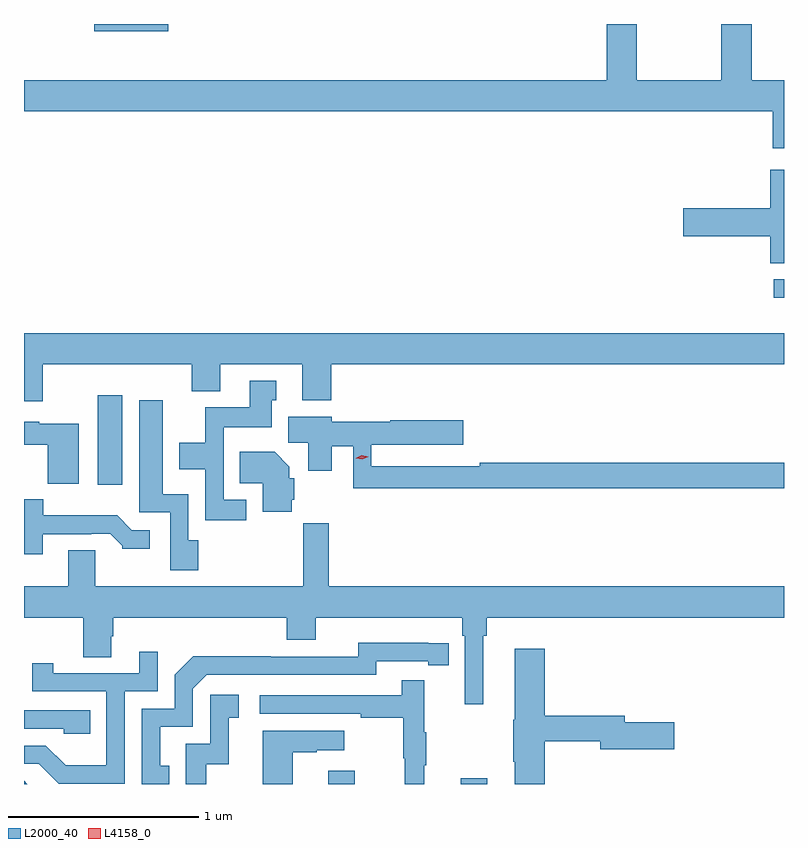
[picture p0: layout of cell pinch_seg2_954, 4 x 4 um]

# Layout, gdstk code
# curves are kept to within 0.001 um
import gdstk
lib = gdstk.Library(unit=1e-6, precision=1e-09)
def R(c, l, rs):  # rectangles x0, y0, x1, y1
    for r in rs: c.add(gdstk.rectangle(r[:2], r[2:], *l))
def P(c, l, *ps):  # polygons
    for p in ps: c.add(gdstk.Polygon(p, *l))
L2000_40 = (2000, 40)
L4158_0 = (4158, 0)

pinch_seg2_954 = lib.new_cell('pinch_seg2_954')
R(pinch_seg2_954, L2000_40, [(267.587,625.448,267.727,625.519), (268.283,625.448,268.423,625.477), (266.372,627.024,266.503,627.493), (269.931,628.008,269.985,628.104), (266.354,629.411,266.743,629.448)])
P(pinch_seg2_954, L2000_40, [(269.985,629.152),(269.816,629.152),(269.816,629.448),(269.656,629.448),(269.656,629.152),(269.211,629.152),(269.211,629.448),(269.051,629.448),(269.051,629.152),(265.985,629.152),(265.985,628.988),(269.927,628.988),(269.927,628.794),(269.985,628.794)],
  [(269.985,628.681),(269.912,628.681),(269.912,628.478),(269.454,628.478),(269.454,628.331),(269.912,628.331),(269.912,628.189),(269.985,628.189)],
  [(266.083,627.656),(266.867,627.656),(266.867,627.515),(267.019,627.515),(267.019,627.656),(267.449,627.656),(267.449,627.467),(267.602,627.467),(267.602,627.656),(269.985,627.656),(269.985,627.82),(265.985,627.82),(265.985,627.462),(266.083,627.462)],
  [(267.154,626.943),(267.036,626.943),(267.036,627.326),(267.289,627.326),(267.289,627.468),(267.313,627.468),(267.313,627.571),(267.173,627.571),(267.173,627.43),(266.938,627.43),(266.938,627.244),(266.801,627.244),(266.801,627.104),(266.94,627.104),(266.94,626.835),(267.154,626.835)],
  [(266.903,626.73),(266.85,626.73),(266.85,626.974),(266.716,626.974),(266.716,627.469),(266.591,627.469),(266.591,626.877),(266.754,626.877),(266.754,626.574),(266.903,626.574)],
  [(269.985,627.14),(268.384,627.14),(268.384,627.12),(267.813,627.12),(267.813,627.233),(268.297,627.233),(268.297,627.363),(267.912,627.363),(267.912,627.355),(267.604,627.355),(267.604,627.382),(267.377,627.382),(267.377,627.244),(267.482,627.244),(267.482,627.096),(267.604,627.096),(267.604,627.226),(267.717,627.226),(267.717,627.004),(269.985,627.004)],
  [(266.272,627.343),(266.064,627.343),(266.064,627.355),(265.985,627.355),(265.985,627.233),(266.11,627.233),(266.11,627.029),(266.272,627.029)],
  [(267.395,626.943),(267.408,626.943),(267.408,627.057),(267.382,627.057),(267.382,627.118),(267.304,627.196),(267.121,627.196),(267.121,627.032),(267.242,627.032),(267.242,626.882),(267.395,626.882)],
  [(266.083,626.763),(266.339,626.763),(266.339,626.766),(266.438,626.766),(266.502,626.702),(266.502,626.687),(266.647,626.687),(266.647,626.784),(266.553,626.784),(266.475,626.863),(266.086,626.863),(266.086,626.947),(265.985,626.947),(265.985,626.658),(266.083,626.658)],
  [(268.402,626.228),(268.421,626.228),(268.421,626.324),(269.985,626.324),(269.985,626.488),(267.59,626.488),(267.59,626.821),(267.454,626.821),(267.454,626.488),(266.359,626.488),(266.359,626.678),(266.219,626.678),(266.219,626.488),(265.985,626.488),(265.985,626.324),(266.296,626.324),(266.296,626.116),(266.443,626.116),(266.443,626.226),(266.456,626.226),(266.456,626.324),(267.368,626.324),(267.368,626.207),(267.52,626.207),(267.52,626.324),(268.292,626.324),(268.292,626.228),(268.305,626.228),(268.305,625.869),(268.402,625.869)],
  [(266.75,625.545),(266.701,625.545),(266.701,625.749),(266.874,625.749),(266.874,625.95),(266.946,626.022),(267.84,626.022),(267.84,626.094),(268.112,626.094),(268.112,626.074),(268.22,626.074),(268.22,626.19),(267.744,626.191),(267.744,626.118),(267.284,626.118),(267.284,626.12),(266.876,626.12),(266.778,626.022),(266.778,625.845),(266.604,625.845),(266.604,625.448),(266.75,625.448)],
  [(268.727,625.672),(269.018,625.672),(269.018,625.63),(269.407,625.63),(269.407,625.772),(269.146,625.772),(269.146,625.808),(268.727,625.808),(268.727,626.161),(268.568,626.161),(268.568,625.785),(268.561,625.785),(268.561,625.564),(268.568,625.564),(268.568,625.448),(268.727,625.448)],
  [(266.514,625.935),(266.688,625.935),(266.688,626.143),(266.591,626.143),(266.591,626.031),(266.14,626.031),(266.14,626.083),(266.029,626.083),(266.029,625.935),(266.418,625.935),(266.418,625.546),(266.204,625.546),(266.1,625.65),(265.985,625.65),(265.985,625.554),(266.063,625.554),(266.168,625.449),(266.514,625.449)],
  [(268.091,625.547),(268.102,625.547),(268.102,625.721),(268.091,625.721),(268.091,625.993),(267.973,625.993),(267.973,625.914),(267.225,625.914),(267.225,625.818),(267.757,625.818),(267.757,625.798),(267.981,625.798),(267.981,625.584),(267.988,625.584),(267.988,625.448),(268.091,625.448)],
  [(266.944,625.551),(267.062,625.551),(267.062,625.797),(267.115,625.797),(267.115,625.918),(266.964,625.918),(266.964,625.659),(266.835,625.659),(266.835,625.448),(266.944,625.448)],
  [(266.333,625.836),(265.985,625.836),(265.985,625.74),(266.193,625.74),(266.193,625.713),(266.333,625.713)],
  [(267.4,625.615),(267.527,625.615),(267.527,625.625),(267.67,625.625),(267.67,625.729),(267.242,625.729),(267.242,625.448),(267.4,625.448)],
  [(265.986,625.464),(265.985,625.464),(265.985,625.448),(266.002,625.448)])
P(pinch_seg2_954, L4158_0, [(267.765,627.157),(267.73,627.163),(267.73,627.163),(267.73,627.163),(267.763,627.177),(267.797,627.171),(267.798,627.171),(267.797,627.171)])

lib.write_gds('pinch_seg2_954.gds')
